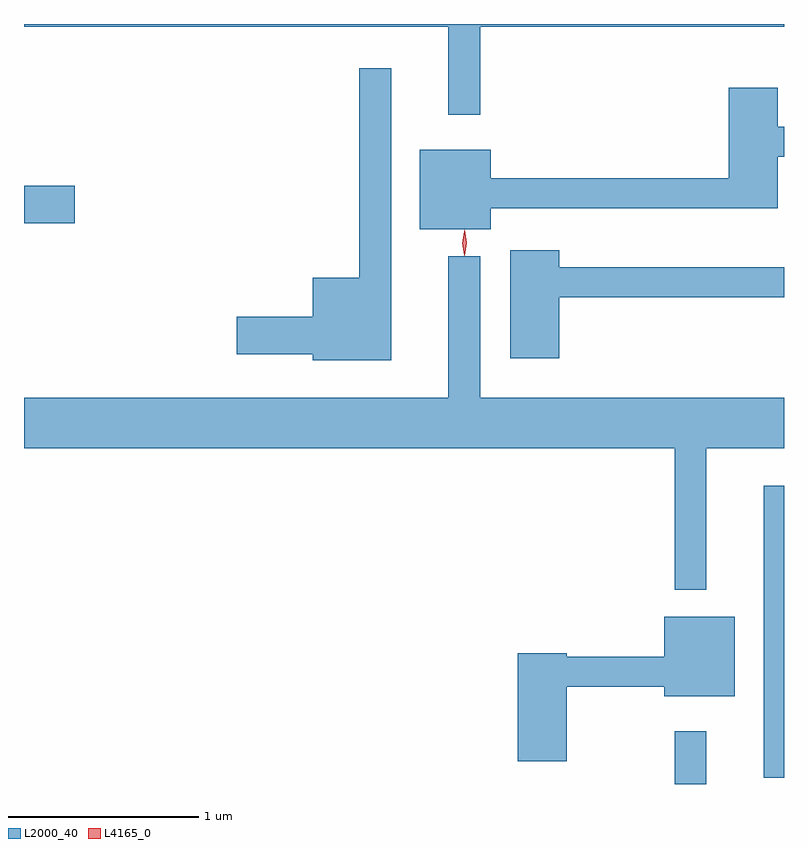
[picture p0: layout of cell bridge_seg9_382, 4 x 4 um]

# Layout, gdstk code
import gdstk
lib = gdstk.Library(unit=1e-6, precision=1e-09)
def R(c, l, rs):  # rectangles x0, y0, x1, y1
    for r in rs: c.add(gdstk.rectangle(r[:2], r[2:], *l))
def P(c, l, *ps):  # polygons
    for p in ps: c.add(gdstk.Polygon(p, *l))
L2000_40 = (2000, 40)
L4165_0 = (4165, 0)

bridge_seg9_382 = lib.new_cell('bridge_seg9_382')
R(bridge_seg9_382, L2000_40, [(900.961,1965.63,901.129,1965.908), (901.431,1965.663,901.537,1967.199), (897.537,1968.581,897.804,1968.779)])
P(bridge_seg9_382, L2000_40, [(899.939,1969.616),(901.537,1969.616),(901.537,1969.63),(897.537,1969.63),(897.537,1969.616),(899.771,1969.616),(899.771,1969.153),(899.939,1969.153)],
  [(899.469,1969.398),(899.301,1969.398),(899.301,1968.294),(899.056,1968.294),(899.056,1968.089),(898.656,1968.089),(898.656,1967.891),(899.056,1967.891),(899.056,1967.861),(899.469,1967.861)],
  [(899.994,1968.661),(901.504,1968.661),(901.504,1968.931),(901.537,1968.931),(901.537,1969.089),(901.504,1969.089),(901.504,1969.294),(901.246,1969.294),(901.246,1968.819),(899.994,1968.819),(899.994,1968.969),(899.621,1968.969),(899.621,1968.551),(899.994,1968.551)],
  [(900.354,1968.191),(901.537,1968.191),(901.537,1968.349),(900.354,1968.349),(900.354,1968.439),(900.096,1968.439),(900.096,1967.871),(900.354,1967.871)],
  [(901.129,1967.396),(901.537,1967.396),(901.537,1967.664),(899.939,1967.664),(899.939,1968.408),(899.771,1968.408),(899.771,1967.664),(897.537,1967.664),(897.537,1967.396),(900.961,1967.396),(900.961,1966.653),(901.129,1966.653)],
  [(900.394,1966.141),(900.906,1966.141),(900.906,1966.091),(901.279,1966.091),(901.279,1966.509),(900.906,1966.509),(900.906,1966.299),(900.394,1966.299),(900.394,1966.319),(900.136,1966.319),(900.136,1965.751),(900.394,1965.751)])
P(bridge_seg9_382, L4165_0, [(899.854,1968.413),(899.844,1968.477),(899.854,1968.54),(899.854,1968.541),(899.854,1968.54),(899.864,1968.477),(899.855,1968.413),(899.855,1968.413)],
  [(899.857,1968.409),(899.856,1968.41),(899.847,1968.478),(899.856,1968.546),(899.857,1968.546),(899.858,1968.546),(899.867,1968.478),(899.858,1968.41)])

lib.write_gds('bridge_seg9_382.gds')
